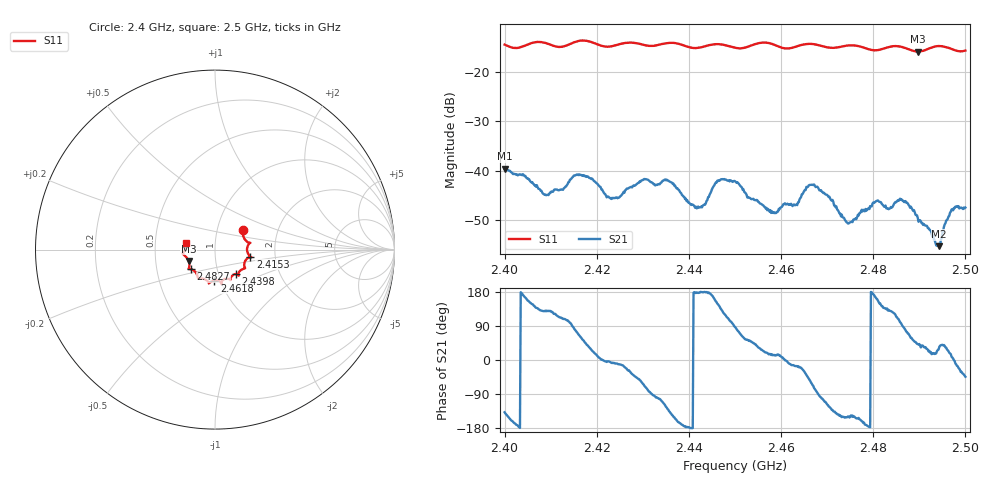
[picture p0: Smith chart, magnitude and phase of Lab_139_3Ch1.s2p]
# Hz S RI R 50
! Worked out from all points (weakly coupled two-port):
!   601 points, 2.4 GHz to 2.5 GHz, reference 50 ohm
!   highest |S21| = -39.62 dB at 2.4 GHz (marker M1); lowest = -55.3 dB at 2.4943 GHz (marker M2)
!   lowest |S11| = -15.9 dB at 2.4897 GHz (marker M3), VSWR 1.38, Z = 36.9 - j4.82 ohm
!   |S11| at or under -10 dB: start of sweep to end of sweep
!   S12 and S22 are empty: the file has one direction only
!   S11 on the Smith chart (normalised r, x): 2.4 GHz: 1.33, +0.29; 2.4153 GHz: 1.48, -0.12; 2.4398 GHz: 1.21, -0.34; 2.4618 GHz: 0.94, -0.33; 2.4827 GHz: 0.75, -0.17; 2.5 GHz: 0.72, +0.06
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2.4e9  0.1551 0.1068  -0.00775 -0.007  0 0  0 0
2.409e9  0.1917 0.0344  -0.00352 0.00441  0 0  0 0
2.415333e9  0.1966 -0.039  0.00169 0.00877  0 0  0 0
2.416667e9  0.2026 -0.043  0.00478 0.00766  0 0  0 0
2.423333e9  0.1627 -0.0805  0.00526 -0.000749  0 0  0 0
2.433333e9  0.1307 -0.1336  -0.00136 -0.00717  0 0  0 0
2.439833e9  0.1155 -0.1359  -0.00476 -0.000238  0 0  0 0
2.442667e9  0.0907 -0.1517  -0.00434 5.56e-05  0 0  0 0
2.446333e9  0.085 -0.1703  -0.00655 0.00432  0 0  0 0
2.45e9  0.0655 -0.1624  0.000377 0.00781  0 0  0 0
2.458e9  0.0372 -0.188  0.00375 0.00102  0 0  0 0
2.461833e9  -0.00286 -0.1728  0.00451 -0.000813  0 0  0 0
2.466667e9  -0.0343 -0.1882  0.0033 -0.00638  0 0  0 0
2.4745e9  -0.0908 -0.1606  -0.00251 -0.00151  0 0  0 0
2.4805e9  -0.114 -0.1191  -0.00469 0.00122  0 0  0 0
2.482667e9  -0.1352 -0.1093  -0.00317 0.00311  0 0  0 0
2.483333e9  -0.1403 -0.109  -0.00275 0.00301  0 0  0 0
2.486167e9  -0.1456 -0.1034  -0.000339 0.00511  0 0  0 0
2.489667e9  -0.1469 -0.0636  0.00246 0.00223  0 0  0 0
2.494333e9  -0.1807 -0.0216  0.00142 0.000973  0 0  0 0
2.497167e9  -0.1688 -0.00577  0.00405 0.000479  0 0  0 0
2.5e9  -0.1593 0.0386  0.00304 -0.00294  0 0  0 0
